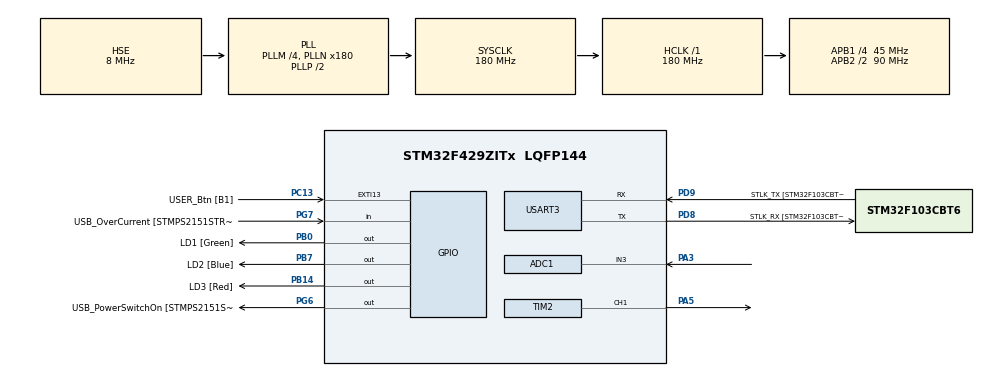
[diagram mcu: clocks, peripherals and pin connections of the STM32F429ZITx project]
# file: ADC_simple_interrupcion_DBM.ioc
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ADC1.Channel-1\#ChannelRegularConversion=ADC_CHANNEL_3
ADC1.NbrOfConversionFlag=1
ADC1.Rank-1\#ChannelRegularConversion=1
ADC1.SamplingTime-1\#ChannelRegularConversion=ADC_SAMPLETIME_3CYCLES
ADC1.master=1
Mcu.Family=STM32F4
Mcu.Name=STM32F429ZITx
Mcu.Package=LQFP144
NVIC.ADC_IRQn=true\:0\:0\:false\:false\:true\:true\:true\:true
NVIC.PriorityGroup=NVIC_PRIORITYGROUP_4
PA1.GPIO_Label=RMII_REF_CLK [LAN8742A-CZ-TR_REFCLK0]
PA1.Signal=ETH_REF_CLK
PA10.GPIO_Label=USB_ID
PA10.Signal=USB_OTG_FS_ID
PA11.GPIO_Label=USB_DM
PA11.Signal=USB_OTG_FS_DM
PA12.GPIO_Label=USB_DP
PA12.Signal=USB_OTG_FS_DP
PA13.GPIO_Label=TMS
PA13.Mode=Serial_Wire
PA13.Signal=SYS_JTMS-SWDIO
PA14.GPIO_Label=TCK
PA14.Mode=Serial_Wire
PA14.Signal=SYS_JTCK-SWCLK
PA2.GPIO_Label=RMII_MDIO [LAN8742A-CZ-TR_MDIO]
PA2.Signal=ETH_MDIO
PA3.Signal=ADCx_IN3
PA5.Signal=S_TIM2_CH1_ETR
PA7.GPIO_Label=RMII_CRS_DV [LAN8742A-CZ-TR_CRS_DV]
PA7.Signal=ETH_CRS_DV
PA8.GPIO_Label=USB_SOF [TP1]
PA8.Signal=USB_OTG_FS_SOF
PA9.GPIO_Label=USB_VBUS
PA9.Signal=USB_OTG_FS_VBUS
PB0.GPIO_Label=LD1 [Green]
PB0.Signal=GPIO_Output
PB13.GPIO_Label=RMII_TXD1 [LAN8742A-CZ-TR_TXD1]
PB13.Signal=ETH_TXD1
PB14.GPIO_Label=LD3 [Red]
PB14.Signal=GPIO_Output
PB7.GPIO_Label=LD2 [Blue]
PB7.Signal=GPIO_Output
PC1.GPIO_Label=RMII_MDC [LAN8742A-CZ-TR_MDC]
PC1.Signal=ETH_MDC
PC13.GPIO_Label=USER_Btn [B1]
PC13.Signal=GPXTI13
PC14/OSC32_IN.Mode=LSE-External-Oscillator
PC14/OSC32_IN.Signal=RCC_OSC32_IN
PC15/OSC32_OUT.Mode=LSE-External-Oscillator
PC15/OSC32_OUT.Signal=RCC_OSC32_OUT
PC4.GPIO_Label=RMII_RXD0 [LAN8742A-CZ-TR_RXD0]
PC4.Signal=ETH_RXD0
PC5.GPIO_Label=RMII_RXD1 [LAN8742A-CZ-TR_RXD1]
PC5.Signal=ETH_RXD1
PD8.GPIO_Label=STLK_RX [STM32F103CBT6_PA3]
PD8.Mode=Asynchronous
PD8.Signal=USART3_TX
PD9.GPIO_Label=STLK_TX [STM32F103CBT6_PA2]
PD9.Mode=Asynchronous
PD9.Signal=USART3_RX
PG11.GPIO_Label=RMII_TX_EN [LAN8742A-CZ-TR_TXEN]
PG11.Signal=ETH_TX_EN
PG13.GPIO_Label=RMII_TXD0 [LAN8742A-CZ-TR_TXD0]
PG13.Signal=ETH_TXD0
PG6.GPIO_Label=USB_PowerSwitchOn [STMPS2151STR_EN]
PG6.Signal=GPIO_Output
PG7.GPIO_Label=USB_OverCurrent [STMPS2151STR_FAULT]
PG7.Signal=GPIO_Input
PH0/OSC_IN.GPIO_Label=MCO [STM32F103CBT6_PA8]
PH0/OSC_IN.Mode=HSE-External-Oscillator
PH0/OSC_IN.Signal=RCC_OSC_IN
PH1/OSC_OUT.Mode=HSE-External-Oscillator
PH1/OSC_OUT.Signal=RCC_OSC_OUT
ProjectManager.HeapSize=0x200
ProjectManager.StackSize=0x400
ProjectManager.TargetToolchain=STM32CubeIDE
RCC.48MHZClocksFreq_Value=51428571.428571425
RCC.AHBFreq_Value=180000000
RCC.APB1CLKDivider=RCC_HCLK_DIV4
RCC.APB1Freq_Value=45000000
RCC.APB1TimFreq_Value=90000000
RCC.APB2CLKDivider=RCC_HCLK_DIV2
RCC.APB2Freq_Value=90000000
RCC.APB2TimCLKDivider=2
RCC.APB2TimFreq_Value=180000000
RCC.CortexFreq_Value=180000000
RCC.HCLKFreq_Value=180000000
RCC.HSE_VALUE=8000000
RCC.HSI_VALUE=16000000
RCC.PLLM=4
RCC.PLLMUL=RCC_PLL_MUL9
RCC.PLLN=180
RCC.PLLQ=7
RCC.PLLSourceVirtual=RCC_PLLSOURCE_HSE
RCC.PRESCALERUSB=RCC_USBCLKSOURCE_PLL_DIV1_5
RCC.SYSCLKFreq_VALUE=180000000
RCC.SYSCLKSource=RCC_SYSCLKSOURCE_PLLCLK
RCC.SYSCLKSourceVirtual=RCC_SYSCLKSOURCE_PLLCLK
RCC.USBFreq_Value=48000000
RCC.VCOOutputFreq_Value=360000000
SH.ADCx_IN3.0=ADC1_IN3,IN3
SH.S_TIM2_CH1_ETR.0=TIM2_CH1,PWM Generation1 CH1
TIM2.AutoReloadPreload=TIM_AUTORELOAD_PRELOAD_ENABLE
TIM2.Channel-PWM\ Generation1\ CH1=TIM_CHANNEL_1
TIM2.Period=65535
TIM2.Prescaler=1
USART3.VirtualMode=VM_ASYNC
VP_TIM2_VS_ClockSourceINT.Mode=Internal
board=NUCLEO-F429ZI

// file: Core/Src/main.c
/* USER CODE BEGIN Header */
/**
  **************************************************************************************************
  * @file           : main.c
  * @brief          : Ejemplo de ADC simple solicitado por interrupcion.
  ***************************************************************************************************
  *
  * El ejemplo se desarrolló en base a:
  * https://deepbluembedded.com/stm32-adc-read-example-dma-interrupt-polling/
  *
  **************************************************************************************************
  */
/* USER CODE END Header */
#include "main.h"

/* USER CODE BEGIN Includes */
#include "uOSAL.h"

/* USER CODE END Includes */

/* USER CODE BEGIN PM */
#define DELTA 500

/* USER CODE END PM */

ADC_HandleTypeDef hadc1;

TIM_HandleTypeDef htim2;
UART_HandleTypeDef huart3;

/* USER CODE BEGIN PV */
uint16_t AD_RES = 0;

/* USER CODE END PV */

void SystemClock_Config(void);
static void MX_GPIO_Init(void);

static void MX_USART3_UART_Init(void);
static void MX_ADC1_Init(void);
static void MX_TIM2_Init(void);

int main(void)
{

  /* MCU Configuration--------------------------------------------------------*/

  /* Reset of all peripherals, Initializes the Flash interface and the Systick. */
  HAL_Init();

  /* Configure the system clock */
  SystemClock_Config();

  /* Initialize all configured peripherals */
  MX_GPIO_Init();

  MX_USART3_UART_Init();
  MX_ADC1_Init();
  MX_TIM2_Init();
  /* USER CODE BEGIN 2 */
  //-----------------------------------------------------------------------------------------------
  uint32_t Tiempo_ms = uOSALmiliseg ();
  uartInit();

  GPIO_InitTypeDef  GPIO_InitStruct;
  GPIO_InitStruct.Pin = GPIO_PIN_0;
  GPIO_InitStruct.Mode = GPIO_MODE_OUTPUT_PP;
  GPIO_InitStruct.Pull = GPIO_NOPULL;
  GPIO_InitStruct.Speed = GPIO_SPEED_FAST;
  HAL_GPIO_Init(GPIOA, &GPIO_InitStruct);

  HAL_TIM_PWM_Start(&htim2, TIM_CHANNEL_1);
  //HAL_ADCEx_Calibration_Start(&hadc1);   // Calibrate The ADC On Power-Up For Better Accuracy

  //-----------------------------------------------------------------------------------------------
  /* USER CODE END 2 */

  /* Infinite loop */
  while (1)
  {

    /* USER CODE BEGIN 3 */
    //---------------------------------------------------------------------------------------------

	// Para medir tiempo de conversión
	HAL_GPIO_WritePin(GPIOA, GPIO_PIN_0, GPIO_PIN_SET);

	// Start ADC Conversion
	HAL_ADC_Start_IT(&hadc1);
	HAL_Delay(1);

	// Poll ADC1 Perihperal & TimeOut = 1mSec
	//HAL_ADC_PollForConversion(&hadc1, 1);

	// Read The ADC Conversion Result & Map It To PWM DutyCycle
	// AD_RES = HAL_ADC_GetValue(&hadc1);

	// Evalúo si envío a UART
	if (uOSALmiliseg ()-Tiempo_ms > DELTA) {
		Tiempo_ms += DELTA;
		uEscribirTextoEnteroP ("Leo:", AD_RES);
	}

  }
  //-----------------------------------------------------------------------------------------------
  /* USER CODE END 3 */
}

void HAL_ADC_ConvCpltCallback(ADC_HandleTypeDef* hadc)
{
    // Read & Update The ADC Result
    AD_RES = HAL_ADC_GetValue(&hadc1);

    // Actualizo PWM de led
    TIM2->CCR1 = (AD_RES<<4);

    // Para medir tiempo de conversión
    HAL_GPIO_WritePin(GPIOA, GPIO_PIN_0, GPIO_PIN_RESET);

}

void SystemClock_Config(void)
{
  RCC_OscInitTypeDef RCC_OscInitStruct = {0};
  RCC_ClkInitTypeDef RCC_ClkInitStruct = {0};

  /** Configure the main internal regulator output voltage
  */
  __HAL_RCC_PWR_CLK_ENABLE();
  __HAL_PWR_VOLTAGESCALING_CONFIG(PWR_REGULATOR_VOLTAGE_SCALE1);

  /** Initializes the RCC Oscillators according to the specified parameters
  * in the RCC_OscInitTypeDef structure.
  */
  RCC_OscInitStruct.OscillatorType = RCC_OSCILLATORTYPE_HSE;
  RCC_OscInitStruct.HSEState = RCC_HSE_ON;
  RCC_OscInitStruct.PLL.PLLState = RCC_PLL_ON;
  RCC_OscInitStruct.PLL.PLLSource = RCC_PLLSOURCE_HSE;
  RCC_OscInitStruct.PLL.PLLM = 4;
  RCC_OscInitStruct.PLL.PLLN = 180;
  RCC_OscInitStruct.PLL.PLLP = RCC_PLLP_DIV2;
  RCC_OscInitStruct.PLL.PLLQ = 7;
  if (HAL_RCC_OscConfig(&RCC_OscInitStruct) != HAL_OK)
  {
    Error_Handler();
  }

  /** Activate the Over-Drive mode
  */
  if (HAL_PWREx_EnableOverDrive() != HAL_OK)
  {
    Error_Handler();
  }

  /** Initializes the CPU, AHB and APB buses clocks
  */
  RCC_ClkInitStruct.ClockType = RCC_CLOCKTYPE_HCLK|RCC_CLOCKTYPE_SYSCLK
                              |RCC_CLOCKTYPE_PCLK1|RCC_CLOCKTYPE_PCLK2;
  RCC_ClkInitStruct.SYSCLKSource = RCC_SYSCLKSOURCE_PLLCLK;
  RCC_ClkInitStruct.AHBCLKDivider = RCC_SYSCLK_DIV1;
  RCC_ClkInitStruct.APB1CLKDivider = RCC_HCLK_DIV4;
  RCC_ClkInitStruct.APB2CLKDivider = RCC_HCLK_DIV2;

  if (HAL_RCC_ClockConfig(&RCC_ClkInitStruct, FLASH_LATENCY_5) != HAL_OK)
  {
    Error_Handler();
  }
}

static void MX_ADC1_Init(void)
{

  ADC_ChannelConfTypeDef sConfig = {0};

  /** Configure the global features of the ADC (Clock, Resolution, Data Alignment and number of conversion)
  */
  hadc1.Instance = ADC1;
  hadc1.Init.ClockPrescaler = ADC_CLOCK_SYNC_PCLK_DIV4;
  hadc1.Init.Resolution = ADC_RESOLUTION_12B;
  hadc1.Init.ScanConvMode = DISABLE;
  hadc1.Init.ContinuousConvMode = DISABLE;
  hadc1.Init.DiscontinuousConvMode = DISABLE;
  hadc1.Init.ExternalTrigConvEdge = ADC_EXTERNALTRIGCONVEDGE_NONE;
  hadc1.Init.ExternalTrigConv = ADC_SOFTWARE_START;
  hadc1.Init.DataAlign = ADC_DATAALIGN_RIGHT;
  hadc1.Init.NbrOfConversion = 1;
  hadc1.Init.DMAContinuousRequests = DISABLE;
  hadc1.Init.EOCSelection = ADC_EOC_SINGLE_CONV;
  if (HAL_ADC_Init(&hadc1) != HAL_OK)
  {
    Error_Handler();
  }

  /** Configure for the selected ADC regular channel its corresponding rank in the sequencer and its sample time.
  */
  sConfig.Channel = ADC_CHANNEL_3;
  sConfig.Rank = 1;
  sConfig.SamplingTime = ADC_SAMPLETIME_3CYCLES;
  if (HAL_ADC_ConfigChannel(&hadc1, &sConfig) != HAL_OK)
  {
    Error_Handler();
  }

}

static void MX_TIM2_Init(void)
{

  TIM_ClockConfigTypeDef sClockSourceConfig = {0};
  TIM_MasterConfigTypeDef sMasterConfig = {0};
  TIM_OC_InitTypeDef sConfigOC = {0};

  htim2.Instance = TIM2;
  htim2.Init.Prescaler = 1;
  htim2.Init.CounterMode = TIM_COUNTERMODE_UP;
  htim2.Init.Period = 65535;
  htim2.Init.ClockDivision = TIM_CLOCKDIVISION_DIV1;
  htim2.Init.AutoReloadPreload = TIM_AUTORELOAD_PRELOAD_ENABLE;
  if (HAL_TIM_Base_Init(&htim2) != HAL_OK)
  {
    Error_Handler();
  }
  sClockSourceConfig.ClockSource = TIM_CLOCKSOURCE_INTERNAL;
  if (HAL_TIM_ConfigClockSource(&htim2, &sClockSourceConfig) != HAL_OK)
  {
    Error_Handler();
  }
  if (HAL_TIM_PWM_Init(&htim2) != HAL_OK)
  {
    Error_Handler();
  }
  sMasterConfig.MasterOutputTrigger = TIM_TRGO_RESET;
  sMasterConfig.MasterSlaveMode = TIM_MASTERSLAVEMODE_DISABLE;
  if (HAL_TIMEx_MasterConfigSynchronization(&htim2, &sMasterConfig) != HAL_OK)
  {
    Error_Handler();
  }
  sConfigOC.OCMode = TIM_OCMODE_PWM1;
  sConfigOC.Pulse = 0;
  sConfigOC.OCPolarity = TIM_OCPOLARITY_HIGH;
  sConfigOC.OCFastMode = TIM_OCFAST_DISABLE;
  if (HAL_TIM_PWM_ConfigChannel(&htim2, &sConfigOC, TIM_CHANNEL_1) != HAL_OK)
  {
    Error_Handler();
  }
  HAL_TIM_MspPostInit(&htim2);

}

static void MX_USART3_UART_Init(void)
{

  huart3.Instance = USART3;
  huart3.Init.BaudRate = 115200;
  huart3.Init.WordLength = UART_WORDLENGTH_8B;
  huart3.Init.StopBits = UART_STOPBITS_1;
  huart3.Init.Parity = UART_PARITY_NONE;
  huart3.Init.Mode = UART_MODE_TX_RX;
  huart3.Init.HwFlowCtl = UART_HWCONTROL_NONE;
  huart3.Init.OverSampling = UART_OVERSAMPLING_16;
  if (HAL_UART_Init(&huart3) != HAL_OK)
  {
    Error_Handler();
  }

}

static void MX_GPIO_Init(void)
{
  GPIO_InitTypeDef GPIO_InitStruct = {0};

  /* GPIO Ports Clock Enable */
  __HAL_RCC_GPIOC_CLK_ENABLE();
  __HAL_RCC_GPIOH_CLK_ENABLE();
  __HAL_RCC_GPIOA_CLK_ENABLE();
  __HAL_RCC_GPIOB_CLK_ENABLE();
  __HAL_RCC_GPIOD_CLK_ENABLE();
  __HAL_RCC_GPIOG_CLK_ENABLE();

  /*Configure GPIO pin Output Level */
  HAL_GPIO_WritePin(GPIOB, LD1_Pin|LD3_Pin|LD2_Pin, GPIO_PIN_RESET);

  /*Configure GPIO pin Output Level */
  HAL_GPIO_WritePin(USB_PowerSwitchOn_GPIO_Port, USB_PowerSwitchOn_Pin, GPIO_PIN_RESET);

  /*Configure GPIO pin : USER_Btn_Pin */
  GPIO_InitStruct.Pin = USER_Btn_Pin;
  GPIO_InitStruct.Mode = GPIO_MODE_IT_RISING;
  GPIO_InitStruct.Pull = GPIO_NOPULL;
  HAL_GPIO_Init(USER_Btn_GPIO_Port, &GPIO_InitStruct);

  /*Configure GPIO pins : RMII_MDC_Pin RMII_RXD0_Pin RMII_RXD1_Pin */
  GPIO_InitStruct.Pin = RMII_MDC_Pin|RMII_RXD0_Pin|RMII_RXD1_Pin;
  GPIO_InitStruct.Mode = GPIO_MODE_AF_PP;
  GPIO_InitStruct.Pull = GPIO_NOPULL;
  GPIO_InitStruct.Speed = GPIO_SPEED_FREQ_VERY_HIGH;
  GPIO_InitStruct.Alternate = GPIO_AF11_ETH;
  HAL_GPIO_Init(GPIOC, &GPIO_InitStruct);

  /*Configure GPIO pins : RMII_REF_CLK_Pin RMII_MDIO_Pin RMII_CRS_DV_Pin */
  GPIO_InitStruct.Pin = RMII_REF_CLK_Pin|RMII_MDIO_Pin|RMII_CRS_DV_Pin;
  GPIO_InitStruct.Mode = GPIO_MODE_AF_PP;
  GPIO_InitStruct.Pull = GPIO_NOPULL;
  GPIO_InitStruct.Speed = GPIO_SPEED_FREQ_VERY_HIGH;
  GPIO_InitStruct.Alternate = GPIO_AF11_ETH;
  HAL_GPIO_Init(GPIOA, &GPIO_InitStruct);

  /*Configure GPIO pins : LD1_Pin LD3_Pin LD2_Pin */
  GPIO_InitStruct.Pin = LD1_Pin|LD3_Pin|LD2_Pin;
  GPIO_InitStruct.Mode = GPIO_MODE_OUTPUT_PP;
  GPIO_InitStruct.Pull = GPIO_NOPULL;
  GPIO_InitStruct.Speed = GPIO_SPEED_FREQ_LOW;
  HAL_GPIO_Init(GPIOB, &GPIO_InitStruct);

  /*Configure GPIO pin : RMII_TXD1_Pin */
  GPIO_InitStruct.Pin = RMII_TXD1_Pin;
  GPIO_InitStruct.Mode = GPIO_MODE_AF_PP;
  GPIO_InitStruct.Pull = GPIO_NOPULL;
  GPIO_InitStruct.Speed = GPIO_SPEED_FREQ_VERY_HIGH;
  GPIO_InitStruct.Alternate = GPIO_AF11_ETH;
  HAL_GPIO_Init(RMII_TXD1_GPIO_Port, &GPIO_InitStruct);

  /*Configure GPIO pin : USB_PowerSwitchOn_Pin */
  GPIO_InitStruct.Pin = USB_PowerSwitchOn_Pin;
  GPIO_InitStruct.Mode = GPIO_MODE_OUTPUT_PP;
  GPIO_InitStruct.Pull = GPIO_NOPULL;
  GPIO_InitStruct.Speed = GPIO_SPEED_FREQ_LOW;
  HAL_GPIO_Init(USB_PowerSwitchOn_GPIO_Port, &GPIO_InitStruct);

  /*Configure GPIO pin : USB_OverCurrent_Pin */
  GPIO_InitStruct.Pin = USB_OverCurrent_Pin;
  GPIO_InitStruct.Mode = GPIO_MODE_INPUT;
  GPIO_InitStruct.Pull = GPIO_NOPULL;
  HAL_GPIO_Init(USB_OverCurrent_GPIO_Port, &GPIO_InitStruct);

  /*Configure GPIO pins : USB_SOF_Pin USB_ID_Pin USB_DM_Pin USB_DP_Pin */
  GPIO_InitStruct.Pin = USB_SOF_Pin|USB_ID_Pin|USB_DM_Pin|USB_DP_Pin;
  GPIO_InitStruct.Mode = GPIO_MODE_AF_PP;
  GPIO_InitStruct.Pull = GPIO_NOPULL;
  GPIO_InitStruct.Speed = GPIO_SPEED_FREQ_VERY_HIGH;
  GPIO_InitStruct.Alternate = GPIO_AF10_OTG_FS;
  HAL_GPIO_Init(GPIOA, &GPIO_InitStruct);

  /*Configure GPIO pin : USB_VBUS_Pin */
  GPIO_InitStruct.Pin = USB_VBUS_Pin;
  GPIO_InitStruct.Mode = GPIO_MODE_INPUT;
  GPIO_InitStruct.Pull = GPIO_NOPULL;
  HAL_GPIO_Init(USB_VBUS_GPIO_Port, &GPIO_InitStruct);

  /*Configure GPIO pins : RMII_TX_EN_Pin RMII_TXD0_Pin */
  GPIO_InitStruct.Pin = RMII_TX_EN_Pin|RMII_TXD0_Pin;
  GPIO_InitStruct.Mode = GPIO_MODE_AF_PP;
  GPIO_InitStruct.Pull = GPIO_NOPULL;
  GPIO_InitStruct.Speed = GPIO_SPEED_FREQ_VERY_HIGH;
  GPIO_InitStruct.Alternate = GPIO_AF11_ETH;
  HAL_GPIO_Init(GPIOG, &GPIO_InitStruct);

}

void Error_Handler(void)
{
  __disable_irq();
  while (1)
  {
  }
}
